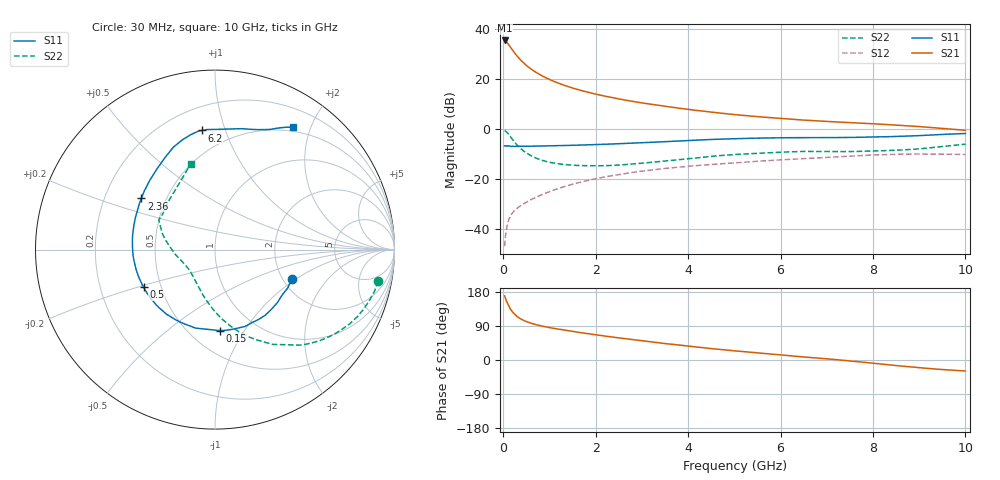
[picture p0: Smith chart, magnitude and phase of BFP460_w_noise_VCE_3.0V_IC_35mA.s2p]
! (c) 2016  Infineon Technologies AG, Munich
! Infineon Technologies  Discrete & RF Semiconductors
! BFP460
! VCE =  3.0 V,  IC =  35 mA
! Common Emitter S-Parameters:  Jan 2016
# GHz  S  MA  R  50
!  f  S11  S21  S12  S22
! GHz  MAG  ANG  MAG  ANG  MAG  ANG  MAG  ANG
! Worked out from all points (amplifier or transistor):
!   229 points, 30 MHz to 10 GHz, reference 50 ohm
!   highest |S21| = 35.4 dB at 30 MHz (marker M1)
!   |S21| within 3 dB of that: start of sweep to 167.8 MHz
!   unconditionally stable (mu >= 1): 1.388 GHz to 7.596 GHz
!   at 280 MHz: K = 0.55, MSG = 30.9 dB, |S12| = -32.1 dB
!   at 1.78 GHz: K = 1.02, MAG = 17.0 dB, |S12| = -20.8 dB
!   at 10 GHz: K = 0.97, MSG = 4.8 dB, |S12| = -10.2 dB
!   lowest NFmin = 1.56 dB at 450 MHz
!   S11 on the Smith chart (normalised r, x): 30 MHz: 2.24, -0.92; 150 MHz: 0.69, -0.78; 500 MHz: 0.40, -0.21; 2.36 GHz: 0.36, +0.28; 6.2 GHz: 0.35, +0.83; 10 GHz: 0.44, +1.74
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0.03  0.4588 -20.8  59 169.2  0.0045 84.5  0.926 -10.9
0.05  0.4517 -34.1  56.97 161.9  0.0073 79.2  0.9059 -18.2
0.07  0.4576 -47.0  55.11 155.6  0.0099 75.5  0.8759 -25.4
0.09  0.4588 -58.4  52.46 149.9  0.0122 70.9  0.8364 -32.0
0.12  0.456 -73.3  48.24 142.1  0.0151 67.0  0.7742 -40.9
0.15  0.4521 -86.6  44.05 135.4  0.0176 63.5  0.7108 -48.5
0.2  0.4507 -104.1  37.94 126.7  0.0209 59.8  0.6164 -58.9
0.26  0.4485 -119.2  32 118.9  0.024 57.6  0.526 -68.3
0.3  0.4499 -127.1  28.75 114.6  0.0258 57.0  0.4769 -73.8
0.4  0.449 -142.0  22.75 106.9  0.03 57.1  0.3884 -84.3
0.5  0.45 -152.2  18.7 101.5  0.0341 57.9  0.3303 -92.3
0.7  0.4533 -166.1  13.71 93.6  0.0425 59.7  0.2625 -104.7
0.9  0.4576 -175.6  10.8 88.0  0.0512 60.9  0.2268 -114.0
1.2  0.4635 173.6  8.186 81.2  0.0646 61.2  0.2 -124.8
1.7  0.4757 159.9  5.833 71.8  0.0873 59.5  0.1843 -137.8
2.36  0.4995 145.2  4.23 60.6  0.1165 55.1  0.1861 -152.7
3.4  0.5496 126.8  2.923 45.1  0.158 46.2  0.2228 -173.3
5.1  0.6416 105.4  1.9 23.2  0.2125 32.8  0.3112 161.8
6.2  0.6677 96.3  1.572 11.3  0.2458 24.5  0.3474 153.3
6.8  0.6694 91.1  1.446 5.1  0.2628 20.2  0.3533 150.7
8.4  0.702 72.5  1.21 -13.4  0.3091 5.7  0.3713 135.0
10  0.8096 57.5  0.94 -29.1  0.3085 -6.9  0.4954 105.7
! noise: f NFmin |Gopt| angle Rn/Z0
0.45  1.56  0.23  -168  0.12
0.9  1.59  0.2  -163  0.13
1.9  1.71  0.31  -143  0.14
3.5  1.58  0.54  -119  0.2
